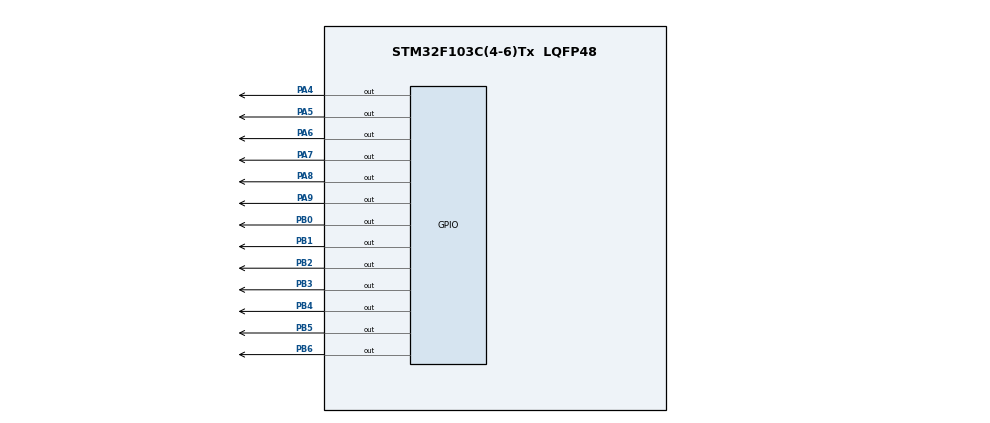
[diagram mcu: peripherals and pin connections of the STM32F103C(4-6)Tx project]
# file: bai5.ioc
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Mcu.Family=STM32F1
Mcu.Name=STM32F103C(4-6)Tx
Mcu.Package=LQFP48
NVIC.PriorityGroup=NVIC_PRIORITYGROUP_4
NVIC.TIM2_IRQn=true\:0\:0\:false\:false\:true\:true\:true\:true
PA4.Signal=GPIO_Output
PA5.Signal=GPIO_Output
PA6.Signal=GPIO_Output
PA7.Signal=GPIO_Output
PA8.Signal=GPIO_Output
PA9.Signal=GPIO_Output
PB0.Signal=GPIO_Output
PB1.Signal=GPIO_Output
PB2.Signal=GPIO_Output
PB3.Signal=GPIO_Output
PB4.Signal=GPIO_Output
PB5.Signal=GPIO_Output
PB6.Signal=GPIO_Output
ProjectManager.HeapSize=0x200
ProjectManager.StackSize=0x400
ProjectManager.TargetToolchain=STM32CubeIDE
RCC.APB1Freq_Value=8000000
RCC.APB2Freq_Value=8000000
TIM2.Period=9
TIM2.Prescaler=7999
VP_TIM2_VS_ClockSourceINT.Mode=Internal
board=custom

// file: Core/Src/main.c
/* USER CODE BEGIN Header */
/**
  ******************************************************************************
  * @file           : main.c
  * @brief          : Main program body
  ******************************************************************************
  * @attention
  *
  * Copyright (c) 2022 STMicroelectronics.
  * All rights reserved.
  *
  * This software is licensed under terms that can be found in the LICENSE file
  * in the root directory of this software component.
  * If no LICENSE file comes with this software, it is provided AS-IS.
  *
  ******************************************************************************
  */
/* USER CODE END Header */
#include "main.h"

TIM_HandleTypeDef htim2;

void SystemClock_Config(void);
static void MX_GPIO_Init(void);
static void MX_TIM2_Init(void);

/* USER CODE BEGIN 0 */
int hour = 15, minute = 8, second = 50;
int led_buffer[4] = {1, 5, 0, 8};
void updateClockBuffer() {
	led_buffer[0] = hour / 10;
	led_buffer[1] = hour % 10;
	led_buffer[2] = minute / 10;
	led_buffer[3] = minute % 10;
}
/* USER CODE END 0 */

int main(void)
{

  /* MCU Configuration--------------------------------------------------------*/

  /* Reset of all peripherals, Initializes the Flash interface and the Systick. */
  HAL_Init();

  /* Configure the system clock */
  SystemClock_Config();

  /* Initialize all configured peripherals */
  MX_GPIO_Init();
  MX_TIM2_Init();
  /* USER CODE BEGIN 2 */
  HAL_TIM_Base_Start_IT(&htim2);
  /* USER CODE END 2 */

  /* Infinite loop */
  /* USER CODE BEGIN WHILE */
  while (1)
  {
	second++;
	if (second >= 60){
		second = 0;
		minute++;
	}
	if(minute >= 60){
		minute = 0;
		hour++;
	}
	if(hour >=24){
		hour = 0;
	}
	updateClockBuffer();
	HAL_Delay(1000);
    /* USER CODE END WHILE */

  }
}

void SystemClock_Config(void)
{
  RCC_OscInitTypeDef RCC_OscInitStruct = {0};
  RCC_ClkInitTypeDef RCC_ClkInitStruct = {0};

  /** Initializes the RCC Oscillators according to the specified parameters
  * in the RCC_OscInitTypeDef structure.
  */
  RCC_OscInitStruct.OscillatorType = RCC_OSCILLATORTYPE_HSI;
  RCC_OscInitStruct.HSIState = RCC_HSI_ON;
  RCC_OscInitStruct.HSICalibrationValue = RCC_HSICALIBRATION_DEFAULT;
  RCC_OscInitStruct.PLL.PLLState = RCC_PLL_NONE;
  if (HAL_RCC_OscConfig(&RCC_OscInitStruct) != HAL_OK)
  {
    Error_Handler();
  }

  /** Initializes the CPU, AHB and APB buses clocks
  */
  RCC_ClkInitStruct.ClockType = RCC_CLOCKTYPE_HCLK|RCC_CLOCKTYPE_SYSCLK
                              |RCC_CLOCKTYPE_PCLK1|RCC_CLOCKTYPE_PCLK2;
  RCC_ClkInitStruct.SYSCLKSource = RCC_SYSCLKSOURCE_HSI;
  RCC_ClkInitStruct.AHBCLKDivider = RCC_SYSCLK_DIV1;
  RCC_ClkInitStruct.APB1CLKDivider = RCC_HCLK_DIV1;
  RCC_ClkInitStruct.APB2CLKDivider = RCC_HCLK_DIV1;

  if (HAL_RCC_ClockConfig(&RCC_ClkInitStruct, FLASH_LATENCY_0) != HAL_OK)
  {
    Error_Handler();
  }
}

static void MX_TIM2_Init(void)
{

  TIM_ClockConfigTypeDef sClockSourceConfig = {0};
  TIM_MasterConfigTypeDef sMasterConfig = {0};

  htim2.Instance = TIM2;
  htim2.Init.Prescaler = 7999;
  htim2.Init.CounterMode = TIM_COUNTERMODE_UP;
  htim2.Init.Period = 9;
  htim2.Init.ClockDivision = TIM_CLOCKDIVISION_DIV1;
  htim2.Init.AutoReloadPreload = TIM_AUTORELOAD_PRELOAD_DISABLE;
  if (HAL_TIM_Base_Init(&htim2) != HAL_OK)
  {
    Error_Handler();
  }
  sClockSourceConfig.ClockSource = TIM_CLOCKSOURCE_INTERNAL;
  if (HAL_TIM_ConfigClockSource(&htim2, &sClockSourceConfig) != HAL_OK)
  {
    Error_Handler();
  }
  sMasterConfig.MasterOutputTrigger = TIM_TRGO_RESET;
  sMasterConfig.MasterSlaveMode = TIM_MASTERSLAVEMODE_DISABLE;
  if (HAL_TIMEx_MasterConfigSynchronization(&htim2, &sMasterConfig) != HAL_OK)
  {
    Error_Handler();
  }

}

static void MX_GPIO_Init(void)
{
  GPIO_InitTypeDef GPIO_InitStruct = {0};

  /* GPIO Ports Clock Enable */
  __HAL_RCC_GPIOA_CLK_ENABLE();
  __HAL_RCC_GPIOB_CLK_ENABLE();

  /*Configure GPIO pin Output Level */
  HAL_GPIO_WritePin(GPIOA, GPIO_PIN_4|GPIO_PIN_5|GPIO_PIN_6|GPIO_PIN_7
                          |GPIO_PIN_8|GPIO_PIN_9, GPIO_PIN_RESET);

  /*Configure GPIO pin Output Level */
  HAL_GPIO_WritePin(GPIOB, GPIO_PIN_0|GPIO_PIN_1|GPIO_PIN_2|GPIO_PIN_3
                          |GPIO_PIN_4|GPIO_PIN_5|GPIO_PIN_6, GPIO_PIN_RESET);

  /*Configure GPIO pins : PA4 PA5 PA6 PA7
                           PA8 PA9 */
  GPIO_InitStruct.Pin = GPIO_PIN_4|GPIO_PIN_5|GPIO_PIN_6|GPIO_PIN_7
                          |GPIO_PIN_8|GPIO_PIN_9;
  GPIO_InitStruct.Mode = GPIO_MODE_OUTPUT_PP;
  GPIO_InitStruct.Pull = GPIO_NOPULL;
  GPIO_InitStruct.Speed = GPIO_SPEED_FREQ_LOW;
  HAL_GPIO_Init(GPIOA, &GPIO_InitStruct);

  /*Configure GPIO pins : PB0 PB1 PB2 PB3
                           PB4 PB5 PB6 */
  GPIO_InitStruct.Pin = GPIO_PIN_0|GPIO_PIN_1|GPIO_PIN_2|GPIO_PIN_3
                          |GPIO_PIN_4|GPIO_PIN_5|GPIO_PIN_6;
  GPIO_InitStruct.Mode = GPIO_MODE_OUTPUT_PP;
  GPIO_InitStruct.Pull = GPIO_NOPULL;
  GPIO_InitStruct.Speed = GPIO_SPEED_FREQ_LOW;
  HAL_GPIO_Init(GPIOB, &GPIO_InitStruct);

}

/* USER CODE BEGIN 4 */
unsigned char SEG[10] = {0x40, 0x79, 0x24, 0x30, 0x19, 0x12, 0x02, 0x78, 0x00, 0x10};
void display7SEG(int num) {
	GPIOB->ODR = SEG[num];
}
const int MAX_LED = 4;
int index_led = 0;
void update7SEG(int index){
  switch (index){
	  case 0:
		  //Display the first 7SEG with led_buffer[0]
		  HAL_GPIO_WritePin(GPIOA, GPIO_PIN_6, RESET);
		  HAL_GPIO_WritePin(GPIOA, GPIO_PIN_7, SET);
		  HAL_GPIO_WritePin(GPIOA, GPIO_PIN_8, SET);
		  HAL_GPIO_WritePin(GPIOA, GPIO_PIN_9, SET);
		  display7SEG(led_buffer[0]);
		  break;
	  case 1:
		  //Display the second 7SEG with led_buffer[1]
		  HAL_GPIO_WritePin(GPIOA, GPIO_PIN_6, SET);
		  HAL_GPIO_WritePin(GPIOA, GPIO_PIN_7, RESET);
		  HAL_GPIO_WritePin(GPIOA, GPIO_PIN_8, SET);
		  HAL_GPIO_WritePin(GPIOA, GPIO_PIN_9, SET);
		  display7SEG(led_buffer[1]);
		  break;
	  case 2:
		  //Display the third 7SEG with led_buffer[2]
		  HAL_GPIO_WritePin(GPIOA, GPIO_PIN_6, SET);
		  HAL_GPIO_WritePin(GPIOA, GPIO_PIN_7, SET);
		  HAL_GPIO_WritePin(GPIOA, GPIO_PIN_8, RESET);
		  HAL_GPIO_WritePin(GPIOA, GPIO_PIN_9, SET);
		  display7SEG(led_buffer[2]);
		  break;
	  case 3:
		  //Display the forth 7SEG with led_buffer[3]
		  HAL_GPIO_WritePin(GPIOA, GPIO_PIN_6, SET);
		  HAL_GPIO_WritePin(GPIOA, GPIO_PIN_7, SET);
		  HAL_GPIO_WritePin(GPIOA, GPIO_PIN_8, SET);
		  HAL_GPIO_WritePin(GPIOA, GPIO_PIN_9, RESET);
		  display7SEG(led_buffer[3]);
		  break;
	  default:
		  break;
  }
}
const int reset_counter1 = 100;
const int reset_counter2 = 25;
const int reset_counter3 = 100;
int counter1 = reset_counter1;
int counter2 = reset_counter2;
int counter3 = reset_counter3;
void HAL_TIM_PeriodElapsedCallback (TIM_HandleTypeDef * htim) {
	if (counter1 > 0) {
		counter1--;
		if (counter1 <= 0) {
			counter1 = reset_counter1;
			//TODO
			HAL_GPIO_TogglePin(GPIOA, GPIO_PIN_5);
		}
	}
	if (counter2 > 0) {
		counter2--;
		if (counter2 <= 0) {
			counter2 = reset_counter2;
			//TODO
			if (index_led >= MAX_LED) {
			  index_led = 0;
			}
			update7SEG(index_led++);
		}
	}
	if (counter3 > 0) {
		counter3--;
		if (counter3 <= 0) {
			counter3 = reset_counter3;
			//TODO
			HAL_GPIO_TogglePin(GPIOA, GPIO_PIN_4);
		}
	}
}
/* USER CODE END 4 */

void Error_Handler(void)
{
  __disable_irq();
  while (1)
  {
  }
}
